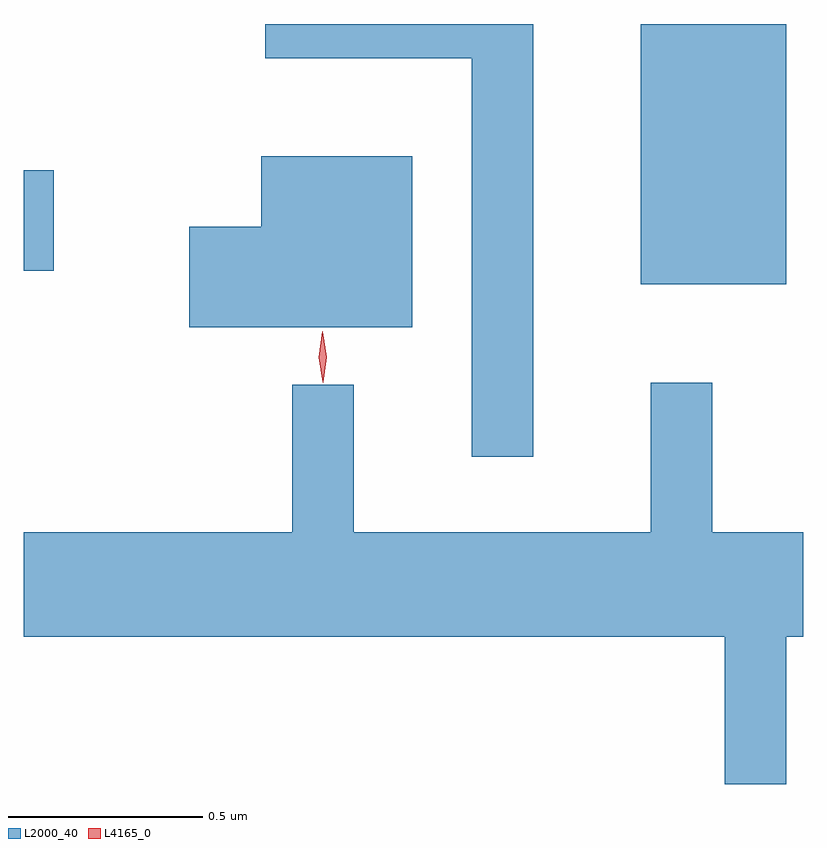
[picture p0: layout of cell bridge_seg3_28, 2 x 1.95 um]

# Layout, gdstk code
import gdstk
lib = gdstk.Library(unit=1e-6, precision=1e-09)
def R(c, l, rs):  # rectangles x0, y0, x1, y1
    for r in rs: c.add(gdstk.rectangle(r[:2], r[2:], *l))
def P(c, l, *ps):  # polygons
    for p in ps: c.add(gdstk.Polygon(p, *l))
L2000_40 = (2000, 40)
L4165_0 = (4165, 0)

bridge_seg3_28 = lib.new_cell('bridge_seg3_28')
R(bridge_seg3_28, L2000_40, [(1268.911,1184.641,1269.284,1185.309), (1267.327,1184.676,1267.404,1184.934)])
P(bridge_seg3_28, L2000_40, [(1268.634,1185.309),(1267.946,1185.309),(1267.946,1185.221),(1268.476,1185.221),(1268.476,1184.198),(1268.634,1184.198)],
  [(1268.324,1184.969),(1267.936,1184.969),(1267.936,1184.789),(1267.751,1184.789),(1267.751,1184.531),(1268.324,1184.531)],
  [(1269.094,1184.388),(1268.936,1184.388),(1268.936,1184.004),(1268.174,1184.004),(1268.174,1184.383),(1268.016,1184.383),(1268.016,1184.004),(1267.327,1184.004),(1267.327,1183.736),(1269.126,1183.736),(1269.126,1183.358),(1269.284,1183.358),(1269.284,1183.736),(1269.327,1183.736),(1269.327,1184.004),(1269.094,1184.004)])
P(bridge_seg3_28, L4165_0, [(1268.095,1184.388),(1268.094,1184.389),(1268.084,1184.454),(1268.093,1184.519),(1268.094,1184.52),(1268.094,1184.519),(1268.104,1184.454),(1268.095,1184.389)])

lib.write_gds('bridge_seg3_28.gds')
